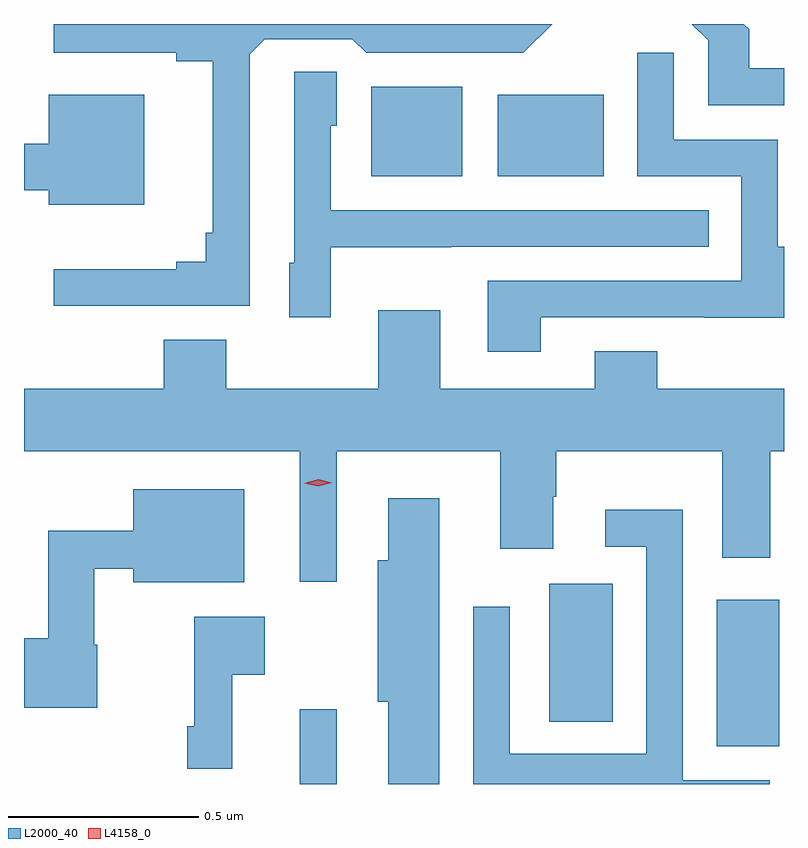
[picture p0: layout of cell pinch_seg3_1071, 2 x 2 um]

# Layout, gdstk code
import gdstk
lib = gdstk.Library(unit=1e-6, precision=1e-09)
def R(c, l, rs):  # rectangles x0, y0, x1, y1
    for r in rs: c.add(gdstk.rectangle(r[:2], r[2:], *l))
def P(c, l, *ps):  # polygons
    for p in ps: c.add(gdstk.Polygon(p, *l))
L2000_40 = (2000, 40)
L4158_0 = (4158, 0)

pinch_seg3_1071 = lib.new_cell('pinch_seg3_1071')
R(pinch_seg3_1071, L2000_40, [(353.162,743.996,353.26,744.193), (354.26,744.095,354.424,744.481), (353.819,744.16,353.986,744.523), (353.351,745.595,353.59,745.831), (353.684,745.595,353.962,745.81)])
P(pinch_seg3_1071, L2000_40, [(354.437,745.879),(354.345,745.879),(354.345,745.982),(354.331,745.996),(354.194,745.996),(354.237,745.953),(354.237,745.782),(354.437,745.782)],
  [(353.031,745.917),(353.07,745.956),(353.301,745.956),(353.337,745.92),(353.751,745.92),(353.827,745.996),(352.515,745.996),(352.515,745.92),(352.838,745.92),(352.838,745.898),(352.934,745.898),(352.934,745.447),(352.915,745.447),(352.915,745.37),(352.838,745.37),(352.838,745.351),(352.515,745.351),(352.515,745.254),(353.031,745.254)],
  [(353.797,745.224),(354.227,745.224),(354.227,745.223),(354.437,745.223),(354.437,745.41),(354.42,745.41),(354.42,745.692),(354.147,745.692),(354.147,745.921),(354.051,745.921),(354.051,745.596),(354.324,745.596),(354.324,745.32),(353.657,745.32),(353.657,745.134),(353.797,745.134)],
  [(353.244,745.409),(353.561,745.409),(353.561,745.41),(354.239,745.41),(354.239,745.506),(353.244,745.506),(353.244,745.728),(353.26,745.728),(353.26,745.871),(353.148,745.871),(353.148,745.368),(353.135,745.368),(353.135,745.224),(353.244,745.224)],
  [(352.753,745.81),(352.502,745.81),(352.502,745.681),(352.437,745.681),(352.437,745.559),(352.502,745.559),(352.502,745.52),(352.753,745.52)],
  [(353.26,744.872),(353.69,744.872),(353.69,744.615),(353.83,744.615),(353.83,744.752),(353.838,744.752),(353.838,744.872),(354.275,744.872),(354.275,744.591),(354.401,744.591),(354.401,744.872),(354.437,744.872),(354.437,745.036),(354.103,745.036),(354.103,745.135),(353.939,745.135),(353.939,745.036),(353.533,745.036),(353.533,745.243),(353.369,745.243),(353.369,745.036),(352.969,745.036),(352.969,745.165),(352.805,745.165),(352.805,745.036),(352.437,745.036),(352.437,744.872),(353.162,744.872),(353.162,744.528),(353.26,744.528)],
  [(352.63,744.363),(352.622,744.363),(352.622,744.563),(352.724,744.563),(352.724,744.527),(353.017,744.527),(353.017,744.772),(352.724,744.772),(352.724,744.662),(352.501,744.662),(352.501,744.38),(352.437,744.38),(352.437,744.197),(352.63,744.197)],
  [(353.53,744.748),(353.396,744.748),(353.396,744.585),(353.368,744.585),(353.368,744.213),(353.396,744.213),(353.396,743.996),(353.53,743.996)],
  [(354.4,744.006),(354.171,744.006),(354.171,744.718),(353.967,744.718),(353.967,744.621),(354.075,744.621),(354.075,744.075),(353.715,744.075),(353.715,744.463),(353.619,744.463),(353.619,743.996),(354.4,743.996)],
  [(352.985,744.284),(353.071,744.284),(353.071,744.436),(352.885,744.436),(352.885,744.148),(352.867,744.148),(352.867,744.036),(352.985,744.036)])
P(pinch_seg3_1071, L4158_0, [(353.211,744.779),(353.175,744.788),(353.175,744.788),(353.175,744.788),(353.211,744.798),(353.247,744.789),(353.247,744.789),(353.247,744.789)])

lib.write_gds('pinch_seg3_1071.gds')
